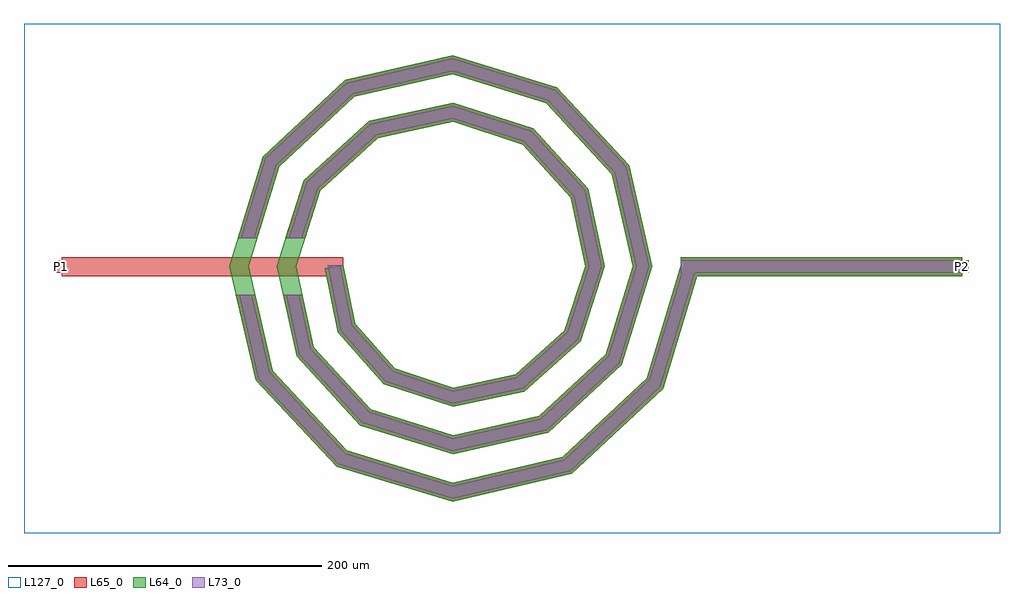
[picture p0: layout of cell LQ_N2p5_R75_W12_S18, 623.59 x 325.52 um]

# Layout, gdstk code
import gdstk
lib = gdstk.Library(unit=1e-6, precision=1e-09)
def R(c, l, rs):  # rectangles x0, y0, x1, y1
    for r in rs: c.add(gdstk.rectangle(r[:2], r[2:], *l))
def P(c, l, *ps):  # polygons
    for p in ps: c.add(gdstk.Polygon(p, *l))
L64_0 = (64, 0)
L65_0 = (65, 0)
L73_0 = (73, 0)
L127_0 = (127, 0)

lq_n2p5_r75_w12_s18 = lib.new_cell('LQ_N2p5_R75_W12_S18')
R(lq_n2p5_r75_w12_s18, L64_0, [(145.724,-6,325.724,6)])
P(lq_n2p5_r75_w12_s18, L64_0, [(-62.33,-36.418),(-37.045,-64.888),(0.351,-77.245),(40.181,-68.915),(71.441,-40.864),(84.83,0.322),(75.498,43.95),(44.679,77.996),(0.297,92.415),(-47.722,82.079),(-84.554,48.491),(-100,0.276),(-88.658,-51.498),(-52.301,-91.114),(0.257,-107.586),(55.275,-95.236),(97.675,-56.108),(115.171,0.241),(101.813,59.055),(59.914,104.237),(0.227,122.757),(-62.836,108.389),(-110.8,63.718),(-130.343,0.215),(-114.965,-66.618),(-67.521,-117.364),(0.203,-137.929),(70.402,-121.54),(123.928,-71.323),(145.98,1.734),(157.468,-1.734),(134.486,-77.872),(76.265,-132.494),(0.203,-150.347),(-74.088,-127.91),(-125.929,-72.462),(-142.76,0.215),(-121.334,70.305),(-68.658,119.365),(0.227,135.173),(66.523,114.758),(112.802,64.853),(127.587,0.241),(108.18,-62.742),(61.046,-106.239),(0.257,-120),(-58.964,-101.601),(-99.678,-57.238),(-112.413,0.276),(-95.021,55.187),(-53.427,93.117),(0.297,104.826),(51.412,88.439),(86.558,49.613),(97.239,0.322),(81.856,-47.641),(45.795,-80.001),(0.351,-89.651),(-43.874,-75.269),(-73.446,-41.973),(-81.741,-1.196),(-69.982,1.196)])
R(lq_n2p5_r75_w12_s18, L65_0, [(-249.862,-6,-69.862,6), (145.724,-6,325.724,6), (-253.862,-4,-245.862,4), (321.724,-4,329.724,4)])
P(lq_n2p5_r75_w12_s18, L65_0, [(-114.965,-66.618),(-67.521,-117.364),(0.203,-137.929),(70.402,-121.54),(123.928,-71.323),(145.98,1.734),(157.468,-1.734),(134.486,-77.872),(76.265,-132.494),(0.203,-150.347),(-74.088,-127.91),(-125.929,-72.462),(-138.542,-18),(-126.224,-18)],
  [(-88.658,-51.498),(-52.301,-91.114),(0.257,-107.586),(55.275,-95.236),(97.675,-56.108),(115.172,0.241),(101.813,59.055),(59.914,104.237),(0.227,122.757),(-62.836,108.389),(-110.8,63.718),(-124.775,18),(-137.323,18),(-121.334,70.305),(-68.658,119.365),(0.227,135.173),(66.523,114.758),(112.802,64.853),(127.587,0.241),(108.18,-62.742),(61.046,-106.239),(0.257,-120),(-58.964,-101.601),(-99.678,-57.238),(-108.366,-18),(-96.076,-18)],
  [(-37.045,-64.888),(0.351,-77.245),(40.182,-68.915),(71.441,-40.864),(84.83,0.322),(75.498,43.95),(44.679,77.996),(0.297,92.415),(-47.722,82.079),(-84.554,48.491),(-94.212,18),(-106.799,18),(-95.021,55.187),(-53.427,93.117),(0.297,104.826),(51.413,88.44),(86.558,49.613),(97.239,0.322),(81.856,-47.641),(45.795,-80.001),(0.351,-89.651),(-43.874,-75.269),(-73.446,-41.973),(-81.742,-1.196),(-69.982,1.196),(-62.331,-36.418)])
R(lq_n2p5_r75_w12_s18, L73_0, [(145.724,-4,325.724,4)])
P(lq_n2p5_r75_w12_s18, L73_0, [(-116.792,-67.592),(-68.616,-119.121),(0.136,-139.999),(71.379,-123.366),(125.688,-72.415),(147.895,1.156),(155.553,-1.156),(132.726,-76.781),(75.288,-130.668),(0.136,-148.277),(-72.994,-126.153),(-124.102,-71.488),(-136.489,-18),(-128.277,-18)],
  [(-90.495,-52.454),(-53.411,-92.862),(0.172,-109.655),(56.237,-97.07),(99.426,-57.214),(117.241,0.161),(103.644,60.021),(61.015,105.99),(0.151,124.827),(-63.806,110.219),(-112.556,64.816),(-126.866,18),(-135.232,18),(-119.579,69.207),(-67.688,117.536),(0.151,133.104),(65.421,113.004),(110.97,63.887),(125.518,0.161),(106.429,-61.637),(60.085,-104.405),(0.172,-117.931),(-57.853,-99.853),(-97.841,-56.281),(-106.318,-18),(-98.124,-18)],
  [(-38.183,-66.618),(0.234,-79.313),(41.117,-70.763),(73.176,-41.994),(86.898,0.214),(77.341,44.894),(45.802,79.737),(0.198,94.484),(-48.673,83.918),(-86.299,49.607),(-96.31,18),(-104.701,18),(-93.277,54.071),(-52.476,91.277),(0.198,102.758),(50.29,86.699),(84.715,48.669),(95.171,0.214),(80.12,-46.512),(44.86,-78.153),(0.234,-87.584),(-42.736,-73.539),(-71.594,-41.047),(-79.782,0.797),(-71.942,0.797),(-64.183,-37.344)])
R(lq_n2p5_r75_w12_s18, L127_0, [(-273.862,-170.347,349.724,155.173)])
lq_n2p5_r75_w12_s18.add(gdstk.Label('P2', (325.724,0), layer=65, texttype=0))
lq_n2p5_r75_w12_s18.add(gdstk.Label('P1', (-249.862,0), layer=65, texttype=0))
lq_n2p5_r75_w12_s18.add(gdstk.Label('P2', (329.724,0), layer=145, texttype=0))
lq_n2p5_r75_w12_s18.add(gdstk.Label('P1', (-253.862,0), layer=145, texttype=0))

lib.write_gds('LQ_N2p5_R75_W12_S18.gds')
